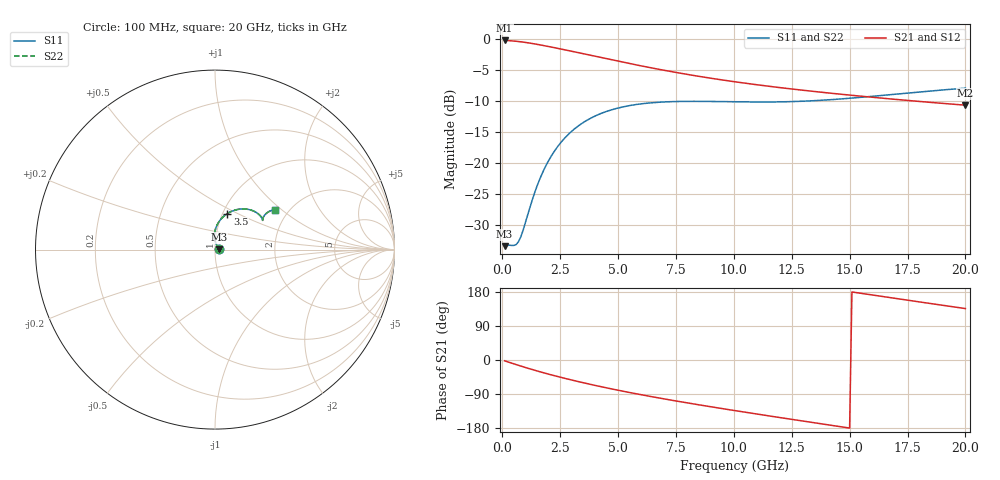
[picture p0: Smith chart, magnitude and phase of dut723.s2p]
! Touchstone file exported from HFSS 2024.1.0
!  File:  C:/UserFiles/LocalFiles/RDL_TSV_Batchsim/temp_RDL_TSV_723_1779890889.aedt
!  Generated:  10:25:41 PM May 27, 2026
!  Design:  RDL_TSV
!  Project:  temp_RDL_TSV_723_1779890889
!  Setup:  Setup1
!  Solution:  Sweep
! Variables:
!  dtsv = 13.04um
!  hbump = 3um
!  htsv = 68.57um
!  ldown = 503.32um
!  lrdl = 416.76um
!  p = 40
!  p1 = 55.94um
!  rhole = 10um
!  subl = 3177um
!  t = 450um
!  tdown = 4.42um
!  trdl = 2.54um
!  viad = 10um
!  wdown = 24.57um
!  wrdl = 14.28um
!  xbump = 18um
# GHz S MA R 50.000000
! Terminal data exported
! Port[1] = TM1_1_T1
! Port[2] = TM1_4_T1
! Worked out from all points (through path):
!   200 points, 100 MHz to 20 GHz, reference 50 ohm
!   highest |S21| = -0.19 dB at 100 MHz (marker M1); lowest = -10.6 dB at 20 GHz (marker M2)
!   group delay of S21, straight-line fit = 29.2 ps
!   lowest |S11| = -33.4 dB at 100 MHz (marker M3), VSWR 1.04, Z = 52.2 + j0.276 ohm
!   |S11| at or under -10 dB: start of sweep to 13.02 GHz
!   |S22| runs from -33.4 to -7.9 dB; largest |S21 - S12| = 1.7e-14
!   S11 on the Smith chart (normalised r, x): 100 MHz: 1.04, +0.01; 3.5 GHz: 1.05, +0.44; 20 GHz: 1.71, +0.91
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0.1  0.02131 7.1  0.9782 -2.1  0.9782 -2.1  0.02131 7.1
! Gamma 0 0 0 0
! Port Impedance 50 0 50 0
0.5  0.02159 34.9  0.9677 -10.2  0.9677 -10.2  0.02159 34.9
0.7  0.02316 54.4  0.9592 -14.1  0.9592 -14.1  0.02316 54.4
0.9  0.02871 72.6  0.9488 -17.9  0.9488 -17.9  0.02871 72.6
1.4  0.0578 91.3  0.9173 -27.1  0.9173 -27.1  0.05781 91.3
1.7  0.08055 92.0  0.8961 -32.3  0.8961 -32.3  0.08056 92.0
2.1  0.1127 88.9  0.8666 -39.0  0.8666 -39.0  0.1127 88.9
2.5  0.1443 84.1  0.8368 -45.3  0.8368 -45.3  0.1443 84.1
3  0.1809 77.4  0.7999 -52.9  0.7999 -52.9  0.1809 77.4
3.5  0.2128 70.9  0.764 -60.1  0.764 -60.1  0.2128 70.9
4.2  0.2488 62.6  0.7161 -69.6  0.7161 -69.6  0.2488 62.6
5.1  0.2812 53.6  0.6597 -81.0  0.6597 -81.0  0.2813 53.6
5.9  0.2992 47.1  0.6147 -90.5  0.6147 -90.5  0.2992 47.1
6.8  0.3103 41.4  0.5701 -100.6  0.5701 -100.6  0.3103 41.4
8.4  0.3152 34.8  0.5051 -117.4  0.5051 -117.4  0.3153 34.8
10.1  0.3123 31.8  0.452 -134.1  0.452 -134.1  0.3125 31.8
11.7  0.3115 31.8  0.4131 -149.2  0.4131 -149.2  0.3118 31.7
13.4  0.3186 33.2  0.3799 -165.0  0.3799 -165.0  0.3188 33.2
15  0.3337 34.7  0.354 -179.6  0.354 -179.6  0.3339 34.6
16.7  0.3562 35.3  0.3305 165.0  0.3305 165.0  0.3563 35.2
18.4  0.3809 34.8  0.3102 149.9  0.3102 149.9  0.3809 34.7
20  0.4025 33.5  0.2935 135.7  0.2935 135.7  0.4024 33.4
